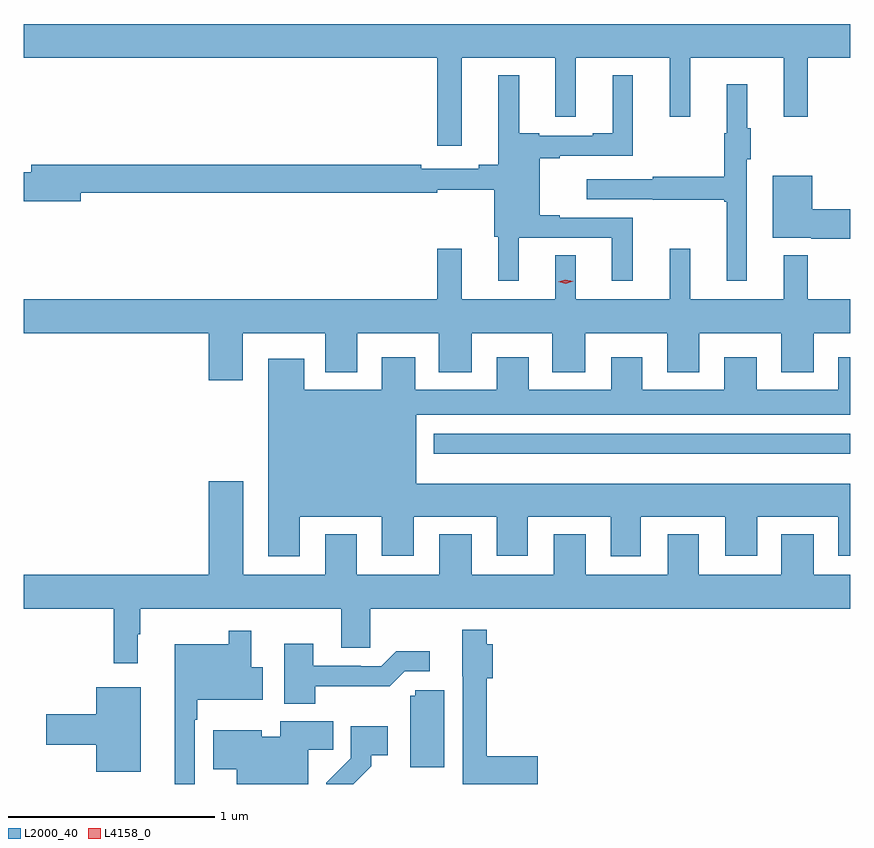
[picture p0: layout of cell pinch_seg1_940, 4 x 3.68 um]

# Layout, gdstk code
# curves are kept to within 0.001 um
import gdstk
lib = gdstk.Library(unit=1e-6, precision=1e-09)
def R(c, l, rs):  # rectangles x0, y0, x1, y1
    for r in rs: c.add(gdstk.rectangle(r[:2], r[2:], *l))
def P(c, l, *ps):  # polygons
    for p in ps: c.add(gdstk.Polygon(p, *l))
L2000_40 = (2000, 40)
L4158_0 = (4158, 0)

pinch_seg1_940 = lib.new_cell('pinch_seg1_940')
R(pinch_seg1_940, L2000_40, [(206.726,509.858,208.741,509.955)])
P(pinch_seg1_940, L2000_40, [(206.86,511.772),(207.314,511.772),(207.314,511.488),(207.413,511.488),(207.413,511.772),(207.866,511.772),(207.866,511.488),(207.965,511.488),(207.965,511.772),(208.418,511.772),(208.418,511.488),(208.535,511.488),(208.535,511.772),(208.741,511.772),(208.741,511.936),(204.741,511.936),(204.741,511.772),(206.743,511.772),(206.743,511.347),(206.86,511.347)],
  [(207.137,510.903),(207.587,510.903),(207.587,510.693),(207.688,510.693),(207.688,510.999),(207.334,510.999),(207.334,511.012),(207.238,511.012),(207.238,511.287),(207.334,511.287),(207.334,511.299),(207.689,511.299),(207.689,511.687),(207.59,511.687),(207.59,511.408),(207.494,511.408),(207.494,511.395),(207.235,511.395),(207.235,511.408),(207.139,511.408),(207.139,511.687),(207.038,511.687),(207.038,511.256),(206.942,511.256),(206.942,511.236),(206.666,511.236),(206.666,511.256),(204.779,511.256),(204.779,511.22),(204.741,511.22),(204.741,511.078),(205.018,511.078),(205.018,511.12),(206.742,511.12),(206.742,511.135),(207.019,511.135),(207.019,510.906),(207.038,510.906),(207.038,510.693),(207.137,510.693)],
  [(208.239,511.282),(208.259,511.282),(208.259,511.432),(208.241,511.432),(208.241,511.645),(208.142,511.645),(208.142,511.407),(208.131,511.407),(208.131,511.198),(207.784,511.198),(207.784,511.185),(207.465,511.185),(207.465,511.089),(207.784,511.089),(207.784,511.087),(208.131,511.087),(208.131,511.077),(208.142,511.077),(208.142,510.693),(208.239,510.693)],
  [(208.741,511.04),(208.555,511.04),(208.555,511.201),(208.364,511.201),(208.364,510.902),(208.551,510.902),(208.551,510.898),(208.741,510.898)],
  [(205.801,510.44),(206.201,510.44),(206.201,510.251),(206.356,510.251),(206.356,510.44),(206.75,510.44),(206.75,510.251),(206.908,510.251),(206.908,510.44),(207.299,510.44),(207.299,510.251),(207.457,510.251),(207.457,510.44),(207.854,510.44),(207.854,510.251),(208.009,510.251),(208.009,510.44),(208.406,510.44),(208.406,510.251),(208.564,510.251),(208.564,510.44),(208.741,510.44),(208.741,510.604),(208.535,510.604),(208.535,510.817),(208.418,510.817),(208.418,510.604),(207.965,510.604),(207.965,510.85),(207.866,510.85),(207.866,510.604),(207.412,510.604),(207.412,510.818),(207.314,510.818),(207.314,510.604),(206.861,510.604),(206.861,510.85),(206.743,510.85),(206.743,510.604),(204.741,510.604),(204.741,510.44),(205.637,510.44),(205.637,510.213),(205.801,510.213)],
  [(206.077,509.552),(206.474,509.552),(206.474,509.364),(206.629,509.364),(206.629,509.552),(207.029,509.552),(207.029,509.364),(207.181,509.364),(207.181,509.552),(207.581,509.552),(207.581,509.361),(207.727,509.361),(207.727,509.552),(208.136,509.552),(208.136,509.364),(208.291,509.364),(208.291,509.552),(208.682,509.552),(208.682,509.364),(208.741,509.364),(208.741,509.713),(206.641,509.713),(206.641,510.047),(208.741,510.047),(208.741,510.325),(208.682,510.325),(208.682,510.166),(208.288,510.166),(208.288,510.325),(208.13,510.325),(208.13,510.166),(207.733,510.166),(207.733,510.325),(207.584,510.325),(207.584,510.166),(207.184,510.166),(207.184,510.325),(207.029,510.325),(207.029,510.166),(206.635,510.166),(206.635,510.325),(206.474,510.325),(206.474,510.166),(206.098,510.166),(206.098,510.316),(205.925,510.316),(205.925,509.361),(206.077,509.361)],
  [(205.294,508.985),(205.306,508.985),(205.306,509.108),(206.279,509.108),(206.279,508.918),(206.418,508.918),(206.418,509.108),(208.741,509.108),(208.741,509.272),(208.564,509.272),(208.564,509.467),(208.406,509.467),(208.406,509.272),(208.006,509.272),(208.006,509.467),(207.857,509.467),(207.857,509.272),(207.46,509.272),(207.46,509.467),(207.305,509.467),(207.305,509.272),(206.908,509.272),(206.908,509.467),(206.753,509.467),(206.753,509.272),(206.353,509.272),(206.353,509.467),(206.201,509.467),(206.201,509.272),(205.804,509.272),(205.804,509.725),(205.637,509.725),(205.637,509.272),(204.741,509.272),(204.741,509.108),(205.177,509.108),(205.177,508.845),(205.294,508.845)],
  [(207.229,508.394),(206.981,508.394),(206.981,508.771),(207.011,508.771),(207.011,508.936),(206.981,508.936),(206.981,509.005),(206.864,509.005),(206.864,508.782),(206.865,508.782),(206.865,508.26),(207.229,508.26)],
  [(205.569,508.571),(205.582,508.571),(205.582,508.667),(205.897,508.667),(205.897,508.825),(205.843,508.825),(205.843,509.002),(205.734,509.002),(205.734,508.936),(205.472,508.936),(205.472,508.26),(205.569,508.26)],
  [(206.151,508.734),(206.513,508.733),(206.586,508.806),(206.707,508.806),(206.707,508.903),(206.545,508.903),(206.472,508.83),(206.372,508.83),(206.372,508.833),(206.143,508.833),(206.143,508.939),(206.003,508.939),(206.003,508.649),(206.151,508.649)],
  [(205.309,508.729),(205.094,508.729),(205.094,508.598),(204.852,508.598),(204.852,508.451),(205.094,508.451),(205.094,508.319),(205.309,508.319)],
  [(206.776,508.713),(206.637,508.713),(206.637,508.686),(206.612,508.686),(206.612,508.342),(206.776,508.342)],
  [(206.119,508.426),(206.24,508.426),(206.24,508.564),(205.982,508.564),(205.982,508.489),(205.894,508.489),(205.894,508.519),(205.658,508.519),(205.658,508.331),(205.772,508.331),(205.772,508.26),(206.119,508.26)],
  [(206.422,508.345),(206.422,508.4),(206.503,508.4),(206.503,508.54),(206.325,508.54),(206.325,508.385),(206.206,508.266),(206.206,508.26),(206.337,508.26)])
P(pinch_seg1_940, L4158_0, [(207.363,510.68),(207.327,510.689),(207.327,510.689),(207.327,510.689),(207.362,510.7),(207.399,510.691),(207.399,510.691),(207.399,510.691)])

lib.write_gds('pinch_seg1_940.gds')
